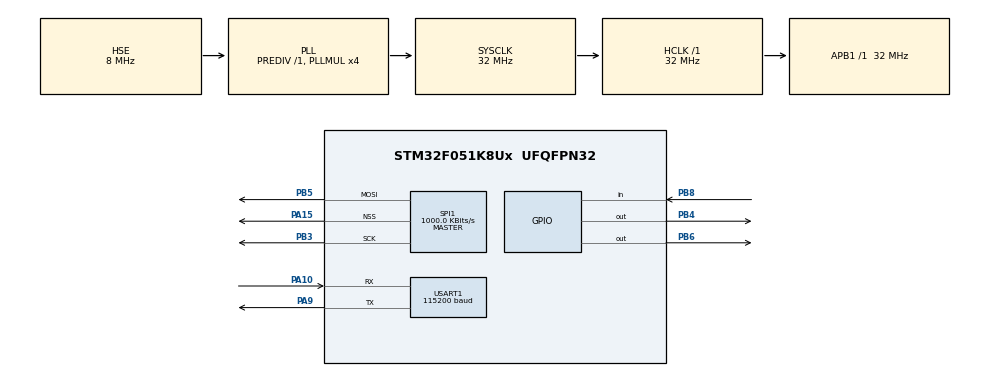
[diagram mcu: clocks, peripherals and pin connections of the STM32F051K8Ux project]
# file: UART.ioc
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Mcu.Family=STM32F0
Mcu.Name=STM32F051K8Ux
Mcu.Package=UFQFPN32
NVIC.SPI1_IRQn=true\:2\:0\:true\:false\:true\:true\:true\:true
NVIC.TIM6_DAC_IRQn=true\:0\:0\:false\:false\:true\:true\:true\:true
NVIC.USART1_IRQn=true\:1\:0\:true\:false\:true\:true\:true\:true
PA10.Mode=Asynchronous
PA10.Signal=USART1_RX
PA15.Mode=NSS_Signal_Hard_Output
PA15.Signal=SPI1_NSS
PA9.Mode=Asynchronous
PA9.Signal=USART1_TX
PB3.Mode=TX_Only_Simplex_Unidirect_Master
PB3.Signal=SPI1_SCK
PB4.Signal=GPIO_Output
PB5.Mode=TX_Only_Simplex_Unidirect_Master
PB5.Signal=SPI1_MOSI
PB6.Signal=GPIO_Output
PB8.Signal=GPIO_Input
PF0-OSC_IN.Mode=HSE-External-Oscillator
PF0-OSC_IN.Signal=RCC_OSC_IN
PF1-OSC_OUT.Mode=HSE-External-Oscillator
PF1-OSC_OUT.Signal=RCC_OSC_OUT
ProjectManager.HeapSize=0x200
ProjectManager.StackSize=0x400
ProjectManager.TargetToolchain=MDK-ARM V5.27
RCC.AHBFreq_Value=32000000
RCC.APB1Freq_Value=32000000
RCC.APB1TimFreq_Value=32000000
RCC.HCLKFreq_Value=32000000
RCC.PLLMUL=RCC_PLL_MUL4
RCC.PLLSourceVirtual=RCC_PLLSOURCE_HSE
RCC.SYSCLKFreq_VALUE=32000000
RCC.SYSCLKSource=RCC_SYSCLKSOURCE_PLLCLK
SPI1.BaudRatePrescaler=SPI_BAUDRATEPRESCALER_32
SPI1.CalculateBaudRate=1000.0 KBits/s
SPI1.DataSize=SPI_DATASIZE_8BIT
SPI1.Direction=SPI_DIRECTION_2LINES
SPI1.Mode=SPI_MODE_MASTER
SPI1.VirtualNSS=VM_NSSHARD
SPI1.VirtualType=VM_MASTER
TIM6.Prescaler=31
USART1.BaudRate=115200
USART1.VirtualMode-Asynchronous=VM_ASYNC
VP_TIM6_VS_ClockSourceINT.Mode=Enable_Timer
board=custom

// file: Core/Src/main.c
/* USER CODE BEGIN Header */
/**
  ******************************************************************************
  * @file           : main.c
  * @brief          : Main program body
  ******************************************************************************
  * @attention
  *
  * <h2><center>&copy; Copyright (c) 2022 STMicroelectronics.
  * All rights reserved.</center></h2>
  *
  * This software component is licensed by ST under BSD 3-Clause license,
  * the "License"; You may not use this file except in compliance with the
  * License. You may obtain a copy of the License at:
  *                        opensource.org/licenses/BSD-3-Clause
  *
  ******************************************************************************
  */
/* USER CODE END Header */
#include "main.h"
#include "spi.h"
#include "tim.h"
#include "usart.h"
#include "gpio.h"

/* USER CODE BEGIN Includes */
#include "stdio.h"
#include "lcd.h"
#include "dht11.h"
/* USER CODE END Includes */

/* USER CODE BEGIN PV */
extern uint8_t huo[32];
extern uint8_t name[][32];
extern uint8_t wenshidu[][32];
/* USER CODE END PV */

void SystemClock_Config(void);

/* USER CODE BEGIN 0 */
int fputc(int c,FILE *stream)
{
	HAL_UART_Transmit(&huart1,(uint8_t *)&c,1,0xffffffff);
	return c;
}

void HAL_UART_RxCpltcallback(UART_HandleTypeDef *huart)
{

}
/* USER CODE END 0 */

int main(void)
{

  /* MCU Configuration--------------------------------------------------------*/

  /* Reset of all peripherals, Initializes the Flash interface and the Systick. */
  HAL_Init();

  /* Configure the system clock */
  SystemClock_Config();

  /* Initialize all configured peripherals */
  MX_GPIO_Init();
  MX_USART1_UART_Init();
  MX_SPI1_Init();
  MX_TIM6_Init();
  /* USER CODE BEGIN 2 */
	LL_TIM_EnableCounter(TIM6);
  /* USER CODE END 2 */

  /* Infinite loop */
  /* USER CODE BEGIN WHILE */
  lcd_init();

  //设置显示区域
  lcd_region(0,127,0,127);

  //设置背景色为黑色
  lcd_clear((uint16_t)0xffffff);

	//lcd_drawtext32x32(30,30,(uint16_t)0xFFFAFA,(uint16_t)0xBBFFFF,(uint8_t *)ni1);
  //lcd_drawstringlower(0, 5, (uint16_t)0xFFFAFA, (uint16_t)0xBBFFFF, "aaa");
  while (1)
  {
    /* USER CODE END WHILE */

    /* USER CODE BEGIN 3 */
    dhtinf();
		HAL_Delay(1000);
  }
  /* USER CODE END 3 */
}

void SystemClock_Config(void)
{
  RCC_OscInitTypeDef RCC_OscInitStruct = {0};
  RCC_ClkInitTypeDef RCC_ClkInitStruct = {0};
  RCC_PeriphCLKInitTypeDef PeriphClkInit = {0};

  /** Initializes the RCC Oscillators according to the specified parameters
  * in the RCC_OscInitTypeDef structure.
  */
  RCC_OscInitStruct.OscillatorType = RCC_OSCILLATORTYPE_HSE;
  RCC_OscInitStruct.HSEState = RCC_HSE_ON;
  RCC_OscInitStruct.PLL.PLLState = RCC_PLL_ON;
  RCC_OscInitStruct.PLL.PLLSource = RCC_PLLSOURCE_HSE;
  RCC_OscInitStruct.PLL.PLLMUL = RCC_PLL_MUL4;
  RCC_OscInitStruct.PLL.PREDIV = RCC_PREDIV_DIV1;
  if (HAL_RCC_OscConfig(&RCC_OscInitStruct) != HAL_OK)
  {
    Error_Handler();
  }
  /** Initializes the CPU, AHB and APB buses clocks
  */
  RCC_ClkInitStruct.ClockType = RCC_CLOCKTYPE_HCLK|RCC_CLOCKTYPE_SYSCLK
                              |RCC_CLOCKTYPE_PCLK1;
  RCC_ClkInitStruct.SYSCLKSource = RCC_SYSCLKSOURCE_PLLCLK;
  RCC_ClkInitStruct.AHBCLKDivider = RCC_SYSCLK_DIV1;
  RCC_ClkInitStruct.APB1CLKDivider = RCC_HCLK_DIV1;

  if (HAL_RCC_ClockConfig(&RCC_ClkInitStruct, FLASH_LATENCY_1) != HAL_OK)
  {
    Error_Handler();
  }
  PeriphClkInit.PeriphClockSelection = RCC_PERIPHCLK_USART1;
  PeriphClkInit.Usart1ClockSelection = RCC_USART1CLKSOURCE_PCLK1;
  if (HAL_RCCEx_PeriphCLKConfig(&PeriphClkInit) != HAL_OK)
  {
    Error_Handler();
  }
}

void Error_Handler(void)
{
  __disable_irq();
  while (1)
  {
  }
}

/************************ (C) COPYRIGHT STMicroelectronics *****END OF FILE****/
